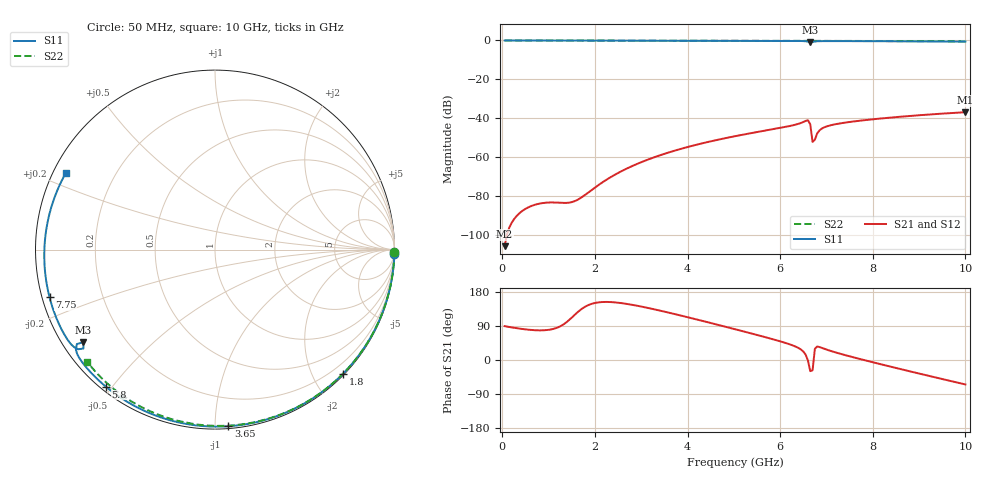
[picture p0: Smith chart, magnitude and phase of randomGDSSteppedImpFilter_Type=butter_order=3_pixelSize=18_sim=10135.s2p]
! freq	dB(S11)	phase(S11)	dB(S12)	phase(S12)
!  dB(S21)	phase(S21)	dB(S22)	phase(S22)
!S-par simulation data
#  GHz  S  DB  R 50
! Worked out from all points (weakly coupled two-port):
!   200 points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, 50 MHz to 10 GHz, reference 50 ohm
!   highest |S21| = -36.88 dB at 10 GHz (marker M1); lowest = -105.7 dB at 50 MHz (marker M2)
!   lowest |S11| = -0.9 dB at 6.65 GHz (marker M3), VSWR 18.35, Z = 3 - j15.8 ohm
!   |S11| at or under -10 dB: nowhere
!   |S22| runs from -0.5 to 0.0 dB; largest |S21 - S12| = 0
!   S11 on the Smith chart (normalised r, x): 50 MHz: 0, -90; 1.8 GHz: 0.02, -2.46; 3.65 GHz: 0.01, -1.08; 5.8 GHz: 0.01, -0.48; 7.75 GHz: 0.02, -0.14; 10 GHz: 0.04, +0.24
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0.05  -0.00 -1.3  -105.73 89.3  -105.73 89.3  -0.00 -0.8
0.85  -0.03 -21.2  -83.65 78.2  -83.65 78.2  -0.02 -13.6
1.75  -0.05 -43.0  -80.03 137.8  -80.03 137.8  -0.04 -27.7
1.8  -0.06 -44.2  -79.17 141.4  -79.17 141.4  -0.04 -28.5
2.2  -0.07 -53.5  -72.33 153.2  -72.33 153.2  -0.04 -34.6
2.55  -0.08 -61.6  -67.49 150.5  -67.49 150.5  -0.05 -40.0
3.4  -0.10 -80.3  -59.06 130.5  -59.06 130.5  -0.07 -52.6
3.65  -0.11 -85.7  -57.16 123.4  -57.16 123.4  -0.08 -56.3
5.05  -0.17 -114.1  -49.09 80.5  -49.09 80.5  -0.12 -76.1
5.8  -0.21 -128.6  -45.81 56.3  -45.81 56.3  -0.15 -86.2
6.3  -0.25 -138.3  -43.47 37.1  -43.47 37.1  -0.17 -92.8
6.6  -0.61 -145.6  -41.00 -1.3  -41.00 -1.3  -0.18 -96.8
6.65  -0.95 -144.9  -43.12 -29.5  -43.12 -29.5  -0.19 -97.4
6.7  -0.75 -143.1  -52.14 -27.1  -52.14 -27.1  -0.20 -98.0
6.75  -0.51 -143.9  -50.99 29.7  -50.99 29.7  -0.20 -98.7
6.8  -0.40 -145.2  -47.75 35.6  -47.75 35.6  -0.20 -99.3
6.85  -0.36 -146.5  -46.21 34.1  -46.21 34.1  -0.20 -99.9
6.95  -0.33 -148.7  -44.67 29.7  -44.67 29.7  -0.21 -101.2
7.75  -0.36 -164.0  -41.16 1.8  -41.16 1.8  -0.26 -111.3
8.35  -0.41 -175.2  -39.72 -16.5  -39.72 -16.5  -0.30 -118.7
9.2  -0.50 168.7  -38.09 -41.6  -38.09 -41.6  -0.38 -129.0
10  -0.59 152.7  -36.88 -64.5  -36.88 -64.5  -0.47 -138.7
